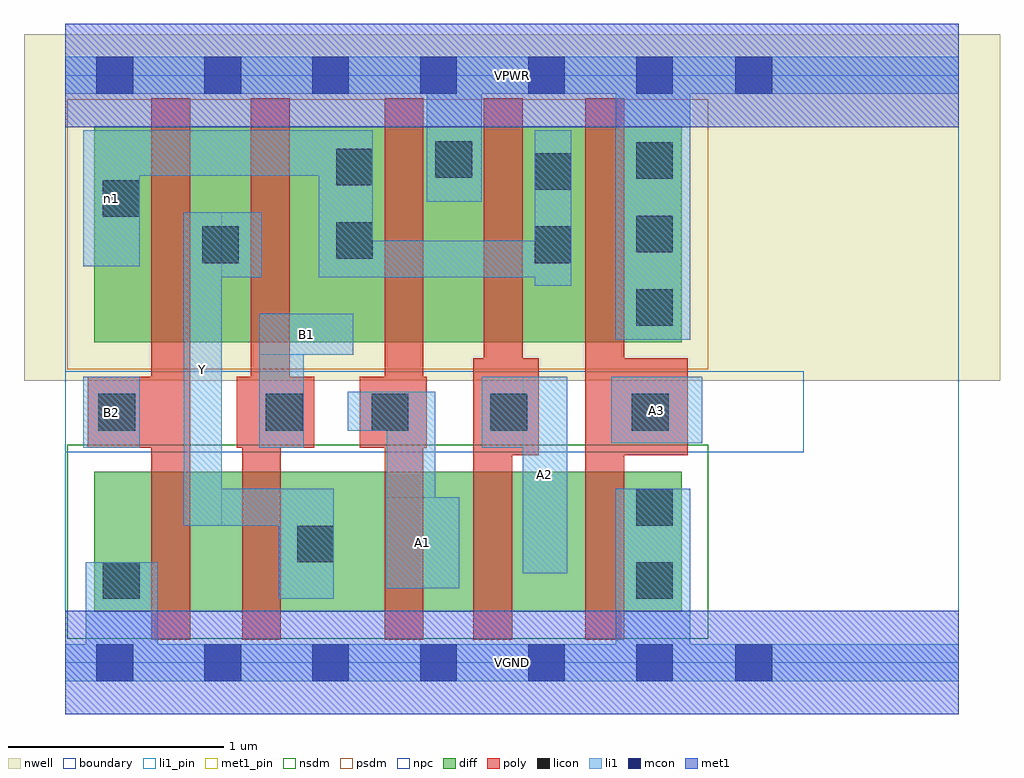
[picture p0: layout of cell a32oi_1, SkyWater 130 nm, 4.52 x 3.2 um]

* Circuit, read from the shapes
.subckt a32oi_1 A1 A2 A3 B1 B2 VGND VPWR Y n1
XM1 n2 B2 VGND VSUBS sky130_fd_pr__nfet_01v8 w=0.65 l=0.18
XM2 Y B1 n2 VSUBS sky130_fd_pr__nfet_01v8 w=0.65 l=0.18
XM3 n3 A1 Y VSUBS sky130_fd_pr__nfet_01v8 w=0.65 l=0.18
XM4 n4 A2 n3 VSUBS sky130_fd_pr__nfet_01v8 w=0.65 l=0.18
XM5 VGND A3 n4 VSUBS sky130_fd_pr__nfet_01v8 w=0.65 l=0.18
XM6 Y B2 n1 n5 sky130_fd_pr__pfet_01v8 w=1 l=0.18
XM7 n1 B1 Y n5 sky130_fd_pr__pfet_01v8 w=1 l=0.18
XM8 VPWR A1 n1 n5 sky130_fd_pr__pfet_01v8 w=1 l=0.18
XM9 n1 A2 VPWR n5 sky130_fd_pr__pfet_01v8 w=1 l=0.18
XM10 VPWR A3 n1 n5 sky130_fd_pr__pfet_01v8 w=1 l=0.18
.ends

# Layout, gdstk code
import gdstk
lib = gdstk.Library(unit=1e-6, precision=1e-09)
def R(c, l, rs):  # rectangles x0, y0, x1, y1
    for r in rs: c.add(gdstk.rectangle(r[:2], r[2:], *l))
def A(c, l, x, y, w, h, nx, ny, dx, dy):  # array of equal rectangles
    R(c, l, [(x+i*dx, y+j*dy, x+i*dx+w, y+j*dy+h) for i in range(nx) for j in range(ny)])
nwell = (64, 20)
diff = (65, 20)
poly = (66, 20)
licon = (66, 44)
li1_pin = (67, 16)
li1 = (67, 20)
mcon = (67, 44)
met1_pin = (68, 16)
met1 = (68, 20)
nsdm = (93, 44)
psdm = (94, 20)
npc = (95, 20)
boundary = (235, 4)

a32oi_1 = lib.new_cell('a32oi_1')
R(a32oi_1, nwell, [(-0.19,1.305,4.33,2.91), (0,1.305,4.14,2.91)])
R(a32oi_1, diff, [(0.135,0.235,2.855,0.885), (0.135,1.485,2.855,2.485)])
R(a32oi_1, poly, [(0.4,0.105,0.58,2.615), (0.82,0.105,1,1.325), (1.48,0.105,1.66,2.615), (1.89,0.105,2.07,1.41), (2.41,0.105,2.59,2.615), (1.89,0.96,2.195,1.41), (1.94,0.96,2.12,2.615), (2.41,0.96,2.885,1.41), (0.105,0.995,0.58,1.325), (0.795,0.995,1.155,1.325), (0.86,0.995,1.04,2.615), (1.365,0.995,1.675,1.325)])
A(a32oi_1, licon, 2.645, 1.56, 0.17, 0.17, 1, 3, 0, 0.34)
R(a32oi_1, licon, [(0.175,0.295,0.345,0.465), (2.645,0.295,2.815,0.465), (1.075,0.465,1.245,0.635), (2.645,0.635,2.815,0.805), (0.155,1.075,0.325,1.245), (0.93,1.075,1.1,1.245), (1.42,1.075,1.59,1.245), (1.97,1.075,2.14,1.245), (2.625,1.075,2.795,1.245), (0.635,1.85,0.805,2.02), (2.175,1.85,2.345,2.02), (1.255,1.87,1.425,2.04), (0.175,2.065,0.345,2.235), (2.175,2.19,2.345,2.36), (1.255,2.21,1.425,2.38), (1.715,2.245,1.885,2.415)])
R(a32oi_1, li1_pin, [(1.49,0.345,1.825,0.765), (2.12,0.415,2.325,1.325), (0.55,0.635,0.725,2.085), (0.085,0.995,0.345,1.325), (2.53,1.015,2.95,1.325), (0.9,1.425,1.335,1.615)])
R(a32oi_1, li1, [(0,-0.085,4.14,0.085), (0.095,-0.085,0.43,0.465), (2.55,-0.085,2.895,0.805), (0.99,0.295,1.245,0.805), (1.49,0.345,1.715,1.255), (1.49,0.345,1.825,0.765), (2.12,0.415,2.325,1.325), (0.55,0.635,0.725,2.085), (0.55,0.635,1.245,0.805), (0.085,0.995,0.345,1.325), (0.9,0.995,1.105,1.615), (1.93,0.995,2.325,1.325), (2.53,1.015,2.95,1.325), (1.31,1.075,1.715,1.255), (0.9,1.425,1.335,1.615), (2.55,1.495,2.895,2.805), (2.175,1.745,2.345,2.465), (0.55,1.785,0.91,2.085), (1.175,1.785,2.345,1.955), (1.175,1.785,1.425,2.465), (0.085,1.835,0.345,2.465), (1.675,2.135,1.93,2.805), (0.085,2.255,1.425,2.465), (0,2.635,4.14,2.805)])
A(a32oi_1, mcon, 0.145, -0.085, 0.17, 0.17, 6, 2, 0.5, 2.72)
R(a32oi_1, mcon, [(3.105,-0.085,3.275,0.085), (3.105,2.635,3.275,2.805)])
R(a32oi_1, met1_pin, [(0,-0.24,4.14,0.24), (0,2.48,4.14,2.96)])
R(a32oi_1, met1, [(0,-0.24,4.14,0.24), (0,2.48,4.14,2.96)])
R(a32oi_1, nsdm, [(0.01,0.11,2.98,1.01)])
R(a32oi_1, psdm, [(0.01,1.36,2.98,2.61)])
R(a32oi_1, npc, [(0,0.975,3.42,1.35)])
R(a32oi_1, boundary, [(0,0,4.14,2.72)])
a32oi_1.add(gdstk.Label('A1', (1.657,0.555), layer=67, texttype=5))
a32oi_1.add(gdstk.Label('A2', (2.222,0.87), layer=67, texttype=5))
a32oi_1.add(gdstk.Label('A3', (2.74,1.17), layer=67, texttype=5))
a32oi_1.add(gdstk.Label('B1', (1.117,1.52), layer=67, texttype=5))
a32oi_1.add(gdstk.Label('B2', (0.215,1.16), layer=67, texttype=5))
a32oi_1.add(gdstk.Label('Y', (0.637,1.36), layer=67, texttype=5))
a32oi_1.add(gdstk.Label('n1', (0.215,2.15), layer=67, texttype=5))
a32oi_1.add(gdstk.Label('VPWR', (2.07,2.72), layer=68, texttype=5))
a32oi_1.add(gdstk.Label('VGND', (2.07,0), layer=68, texttype=5))
a32oi_1.add(gdstk.Label('A1', (1.657,0.555), layer=67, texttype=16))
a32oi_1.add(gdstk.Label('A2', (2.222,0.87), layer=67, texttype=16))
a32oi_1.add(gdstk.Label('A3', (2.74,1.17), layer=67, texttype=16))
a32oi_1.add(gdstk.Label('B1', (1.117,1.52), layer=67, texttype=16))
a32oi_1.add(gdstk.Label('B2', (0.215,1.16), layer=67, texttype=16))
a32oi_1.add(gdstk.Label('Y', (0.637,1.36), layer=67, texttype=16))
a32oi_1.add(gdstk.Label('VPWR', (2.07,2.72), layer=68, texttype=16))
a32oi_1.add(gdstk.Label('VGND', (2.07,0), layer=68, texttype=16))

lib.write_gds('a32oi_1.gds')
